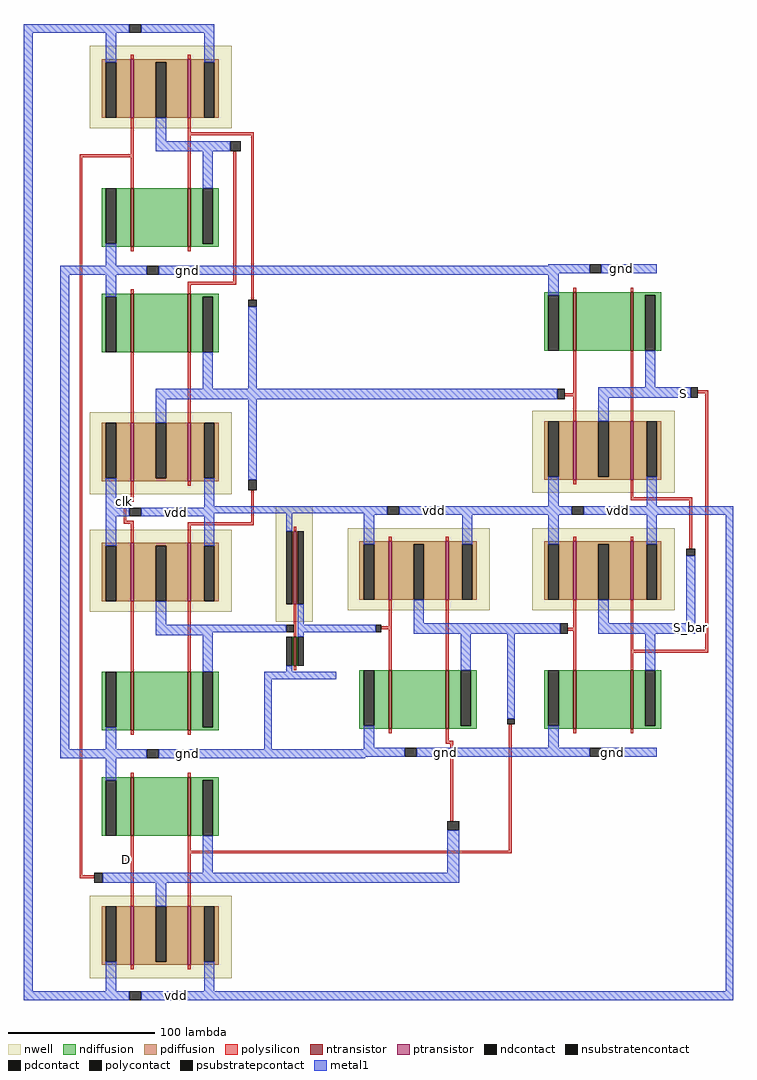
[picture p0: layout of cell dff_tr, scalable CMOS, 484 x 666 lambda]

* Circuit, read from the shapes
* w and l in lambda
.subckt dff_tr D S S_bar clk gnd vdd
M1 n1 D gnd gnd nfet w=40 l=2
M2 n2 clk gnd gnd nfet w=40 l=2
M3 n3 clk gnd gnd nfet w=40 l=2
M4 n4 n5 gnd gnd nfet w=40 l=2
M5 n5 n6 n1 gnd nfet w=40 l=2
M6 n7 n8 n2 gnd nfet w=40 l=2
M7 n8 n9 n3 gnd nfet w=40 l=2
M8 n9 n8 n4 gnd nfet w=40 l=2
M9 n10 n7 gnd gnd nfet w=20 l=2
M10 n11 n10 gnd gnd nfet w=40 l=2
M11 n6 n5 n11 gnd nfet w=40 l=2
M12 n12 n6 gnd gnd nfet w=40 l=2
M13 n13 n8 gnd gnd nfet w=40 l=2
M14 S_bar S n12 gnd nfet w=40 l=2
M15 S S_bar n13 gnd nfet w=40 l=2
M16 n5 D vdd n14 pfet w=40 l=2
M17 n7 clk vdd n15 pfet w=40 l=2
M18 n8 clk vdd n16 pfet w=40 l=2
M19 n9 n5 vdd n17 pfet w=40 l=2
M20 vdd n6 n5 n14 pfet w=40 l=2
M21 vdd n8 n7 n15 pfet w=40 l=2
M22 vdd n9 n8 n16 pfet w=40 l=2
M23 vdd n8 n9 n17 pfet w=40 l=2
M24 n10 n7 vdd n18 pfet w=50 l=2
M25 n6 n10 vdd n19 pfet w=40 l=2
M26 vdd n5 n6 n19 pfet w=40 l=2
M27 S_bar n6 vdd n20 pfet w=40 l=2
M28 S n8 vdd n21 pfet w=40 l=2
M29 vdd S S_bar n20 pfet w=40 l=2
M30 vdd S_bar S n21 pfet w=40 l=2
.ends

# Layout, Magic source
magic
tech scmos
<< nwell >>
rect 0 -150 97 -94
rect 302 -149 399 -93
rect 0 -230 97 -174
rect 176 -229 273 -173
rect 302 -229 399 -173
rect 0 -480 97 -424
<< ntransistor >>
rect 28 -53 30 -13
rect 67 -53 69 -13
rect 330 -52 332 -12
rect 369 -52 371 -12
rect 28 -311 30 -271
rect 67 -311 69 -271
rect 204 -310 206 -270
rect 243 -310 245 -270
rect 28 -383 30 -343
rect 67 -383 69 -343
rect 330 -310 332 -270
rect 369 -310 371 -270
<< ptransistor >>
rect 28 -141 30 -101
rect 67 -141 69 -101
rect 330 -140 332 -100
rect 369 -140 371 -100
rect 28 -223 30 -183
rect 67 -223 69 -183
rect 204 -222 206 -182
rect 243 -222 245 -182
rect 330 -222 332 -182
rect 369 -222 371 -182
rect 28 -471 30 -431
rect 67 -471 69 -431
<< ndiffusion >>
rect 8 -15 28 -13
rect 8 -53 11 -15
rect 18 -53 28 -15
rect 30 -53 67 -13
rect 69 -15 88 -13
rect 69 -53 77 -15
rect 84 -53 88 -15
rect 310 -14 330 -12
rect 310 -52 313 -14
rect 320 -52 330 -14
rect 332 -52 369 -12
rect 371 -14 390 -12
rect 371 -52 379 -14
rect 386 -52 390 -14
rect 8 -309 11 -271
rect 18 -309 28 -271
rect 8 -311 28 -309
rect 30 -311 67 -271
rect 69 -309 77 -271
rect 84 -309 88 -271
rect 69 -311 88 -309
rect 184 -308 187 -270
rect 194 -308 204 -270
rect 184 -310 204 -308
rect 206 -310 243 -270
rect 245 -308 253 -270
rect 260 -308 264 -270
rect 245 -310 264 -308
rect 8 -345 28 -343
rect 8 -383 11 -345
rect 18 -383 28 -345
rect 30 -383 67 -343
rect 69 -345 88 -343
rect 69 -383 77 -345
rect 84 -383 88 -345
rect 310 -308 313 -270
rect 320 -308 330 -270
rect 310 -310 330 -308
rect 332 -310 369 -270
rect 371 -308 379 -270
rect 386 -308 390 -270
rect 371 -310 390 -308
<< pdiffusion >>
rect 8 -139 11 -101
rect 18 -139 28 -101
rect 8 -141 28 -139
rect 30 -139 45 -101
rect 52 -139 67 -101
rect 30 -141 67 -139
rect 69 -139 78 -101
rect 85 -139 88 -101
rect 69 -141 88 -139
rect 310 -138 313 -100
rect 320 -138 330 -100
rect 310 -140 330 -138
rect 332 -138 347 -100
rect 354 -138 369 -100
rect 332 -140 369 -138
rect 371 -138 380 -100
rect 387 -138 390 -100
rect 371 -140 390 -138
rect 8 -185 28 -183
rect 8 -223 11 -185
rect 18 -223 28 -185
rect 30 -185 67 -183
rect 30 -223 45 -185
rect 52 -223 67 -185
rect 69 -185 88 -183
rect 69 -223 78 -185
rect 85 -223 88 -185
rect 184 -184 204 -182
rect 184 -222 187 -184
rect 194 -222 204 -184
rect 206 -184 243 -182
rect 206 -222 221 -184
rect 228 -222 243 -184
rect 245 -184 264 -182
rect 245 -222 254 -184
rect 261 -222 264 -184
rect 310 -184 330 -182
rect 310 -222 313 -184
rect 320 -222 330 -184
rect 332 -184 369 -182
rect 332 -222 347 -184
rect 354 -222 369 -184
rect 371 -184 390 -182
rect 371 -222 380 -184
rect 387 -222 390 -184
rect 8 -469 11 -431
rect 18 -469 28 -431
rect 8 -471 28 -469
rect 30 -469 45 -431
rect 52 -469 67 -431
rect 30 -471 67 -469
rect 69 -469 78 -431
rect 85 -469 88 -431
rect 69 -471 88 -469
<< ndcontact >>
rect 11 -53 18 -15
rect 77 -53 84 -15
rect 313 -52 320 -14
rect 379 -52 386 -14
rect 11 -309 18 -271
rect 77 -309 84 -271
rect 187 -308 194 -270
rect 253 -308 260 -270
rect 11 -383 18 -345
rect 77 -383 84 -345
rect 313 -308 320 -270
rect 379 -308 386 -270
<< pdcontact >>
rect 11 -139 18 -101
rect 45 -139 52 -101
rect 78 -139 85 -101
rect 313 -138 320 -100
rect 347 -138 354 -100
rect 380 -138 387 -100
rect 11 -223 18 -185
rect 45 -223 52 -185
rect 78 -223 85 -185
rect 187 -222 194 -184
rect 221 -222 228 -184
rect 254 -222 261 -184
rect 313 -222 320 -184
rect 347 -222 354 -184
rect 380 -222 387 -184
rect 11 -469 18 -431
rect 45 -469 52 -431
rect 78 -469 85 -431
<< psubstratepcontact >>
rect 39 0 47 6
rect 341 1 349 7
rect 39 -330 47 -324
rect 215 -329 223 -323
rect 341 -329 349 -323
<< nsubstratencontact >>
rect 27 -165 35 -159
rect 203 -164 211 -158
rect 329 -164 337 -158
rect 27 -495 35 -489
<< polysilicon >>
rect 69 95 112 97
rect -7 80 28 82
rect -7 -410 -5 80
rect 98 -5 100 84
rect 67 -7 100 -5
rect 28 -13 30 -10
rect 67 -13 69 -7
rect 110 -17 112 95
rect 330 -12 332 -9
rect 369 -12 371 -9
rect 28 -101 30 -53
rect 67 -101 69 -53
rect 330 -81 332 -52
rect 324 -83 332 -81
rect 330 -100 332 -83
rect 369 -100 371 -52
rect 415 -81 422 -79
rect 28 -153 30 -141
rect 67 -144 69 -141
rect 330 -143 332 -140
rect 23 -155 30 -153
rect 23 -168 25 -155
rect 23 -170 30 -168
rect 110 -169 112 -147
rect 369 -152 371 -140
rect 369 -154 411 -152
rect 28 -183 30 -170
rect 67 -171 112 -169
rect 67 -183 69 -171
rect 204 -182 206 -179
rect 243 -182 245 -179
rect 330 -182 332 -179
rect 369 -182 371 -179
rect 409 -187 411 -154
rect 28 -271 30 -223
rect 67 -271 69 -223
rect 204 -240 206 -222
rect 199 -242 206 -240
rect 204 -270 206 -242
rect 243 -270 245 -222
rect 330 -241 332 -222
rect 326 -243 332 -241
rect 330 -270 332 -243
rect 369 -256 371 -222
rect 420 -256 422 -81
rect 369 -258 422 -256
rect 369 -270 371 -258
rect 28 -314 30 -311
rect 67 -314 69 -311
rect 204 -313 206 -310
rect 243 -318 245 -310
rect 243 -320 248 -318
rect 28 -343 30 -340
rect 67 -343 69 -340
rect 246 -373 248 -320
rect 28 -398 30 -383
rect 24 -400 30 -398
rect -7 -412 3 -410
rect 28 -431 30 -400
rect 67 -393 69 -383
rect 286 -393 288 -307
rect 330 -313 332 -310
rect 369 -313 371 -310
rect 67 -395 288 -393
rect 67 -431 69 -395
rect 28 -474 30 -471
rect 67 -474 69 -471
<< polycontact >>
rect 96 84 103 91
rect 108 -22 114 -17
rect 319 -85 324 -78
rect 410 -84 415 -77
rect 108 -147 114 -140
rect 407 -192 413 -187
rect 195 -244 199 -239
rect 321 -245 326 -238
rect 285 -307 290 -303
rect 244 -379 252 -373
rect 3 -415 9 -408
<< metal1 >>
rect -45 165 11 171
rect -45 -489 -39 165
rect 83 84 96 91
rect 313 6 341 7
rect -20 0 39 6
rect 47 1 341 6
rect 349 1 387 7
rect 47 0 320 1
rect -20 -324 -14 0
rect 11 -15 18 0
rect 313 -14 320 0
rect 77 -78 84 -53
rect 108 -78 114 -22
rect 379 -77 386 -52
rect 45 -85 319 -78
rect 347 -84 410 -77
rect 45 -101 52 -85
rect 11 -159 18 -139
rect 78 -158 85 -139
rect 108 -140 114 -85
rect 347 -100 354 -84
rect 313 -158 320 -138
rect 380 -158 387 -138
rect 78 -159 127 -158
rect 11 -165 27 -159
rect 35 -163 127 -159
rect 152 -163 203 -158
rect 35 -165 85 -163
rect 11 -185 18 -165
rect 78 -185 85 -165
rect 187 -164 203 -163
rect 211 -164 329 -158
rect 337 -164 439 -158
rect 187 -184 194 -164
rect 254 -184 261 -164
rect 313 -184 320 -164
rect 380 -184 387 -164
rect 45 -239 52 -223
rect 221 -238 228 -222
rect 347 -238 354 -222
rect 407 -238 413 -192
rect 45 -244 120 -239
rect 168 -244 195 -239
rect 45 -246 84 -244
rect 221 -245 321 -238
rect 347 -245 413 -238
rect 77 -271 84 -246
rect 253 -270 260 -245
rect 11 -324 18 -309
rect 119 -324 124 -276
rect 285 -303 290 -245
rect 379 -270 386 -245
rect 187 -323 194 -308
rect 313 -323 320 -308
rect 187 -324 215 -323
rect -20 -330 39 -324
rect 47 -329 215 -324
rect 223 -329 341 -323
rect 349 -329 387 -323
rect 47 -330 188 -329
rect 11 -345 18 -330
rect 77 -408 84 -383
rect 244 -408 252 -379
rect 9 -415 252 -408
rect 45 -431 52 -415
rect 11 -489 18 -469
rect 78 -489 85 -469
rect 434 -489 439 -164
rect -45 -495 27 -489
rect 35 -495 439 -489
use nand_tr  nand_tr_0
transform 1 0 0 0 1 100
box 0 -100 97 71
use first  first_0
transform 1 0 41 0 1 -233
box 78 -43 127 75
<< labels >>
rlabel metal1 67 3 67 3 5 gnd
rlabel metal1 59 -162 59 -162 5 vdd
rlabel metal1 59 -492 59 -492 1 vdd
rlabel metal1 67 -327 67 -327 5 gnd
rlabel metal1 243 -326 243 -326 1 gnd
rlabel metal1 235 -161 235 -161 5 vdd
rlabel polysilicon 24 -155 24 -155 1 clk
rlabel polysilicon 25 -399 25 -399 1 D
rlabel metal1 361 -161 361 -161 1 vdd
rlabel metal1 410 -241 410 -241 7 S_bar
rlabel metal1 357 -326 357 -326 1 gnd
rlabel metal1 405 -81 405 -81 1 S
rlabel metal1 363 4 363 4 1 gnd
<< end >>

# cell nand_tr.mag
magic
tech scmos
<< nwell >>
rect 0 0 97 56
<< ntransistor >>
rect 28 -81 30 -41
rect 67 -81 69 -41
<< ptransistor >>
rect 28 7 30 47
rect 67 7 69 47
<< ndiffusion >>
rect 8 -79 11 -41
rect 18 -79 28 -41
rect 8 -81 28 -79
rect 30 -81 67 -41
rect 69 -79 77 -41
rect 84 -79 88 -41
rect 69 -81 88 -79
<< pdiffusion >>
rect 8 45 28 47
rect 8 7 11 45
rect 18 7 28 45
rect 30 45 67 47
rect 30 7 45 45
rect 52 7 67 45
rect 69 45 88 47
rect 69 7 78 45
rect 85 7 88 45
<< ndcontact >>
rect 11 -79 18 -41
rect 77 -79 84 -41
<< pdcontact >>
rect 11 7 18 45
rect 45 7 52 45
rect 78 7 85 45
<< psubstratepcontact >>
rect 39 -100 47 -94
<< nsubstratencontact >>
rect 27 65 35 71
<< polysilicon >>
rect 28 47 30 50
rect 67 47 69 50
rect 28 -41 30 7
rect 67 -41 69 7
rect 28 -84 30 -81
rect 67 -84 69 -81
<< metal1 >>
rect 11 65 27 71
rect 35 65 85 71
rect 11 45 18 65
rect 78 45 85 65
rect 45 -9 52 7
rect 45 -16 84 -9
rect 77 -41 84 -16
rect 11 -94 18 -79
rect 11 -100 39 -94
rect 47 -100 85 -94
<< labels >>
rlabel metal1 67 -97 67 -97 1 gnd
rlabel metal1 59 68 59 68 5 vdd
<< end >>

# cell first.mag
magic
tech scmos
<< nwell >>
rect 86 -4 111 75
<< ntransistor >>
rect 98 -34 100 -14
<< ptransistor >>
rect 98 8 100 58
<< ndiffusion >>
rect 97 -34 98 -14
rect 100 -34 101 -14
<< pdiffusion >>
rect 97 8 98 58
rect 100 8 101 58
<< ndcontact >>
rect 93 -34 97 -14
rect 101 -34 105 -14
<< pdcontact >>
rect 93 8 97 58
rect 101 8 105 58
<< polysilicon >>
rect 98 58 100 61
rect 98 -14 100 8
rect 98 -37 100 -34
<< polycontact >>
rect 93 -11 98 -6
<< metal1 >>
rect 86 70 111 75
rect 93 58 97 70
rect 101 -6 105 8
rect 79 -11 93 -6
rect 101 -11 127 -6
rect 101 -14 105 -11
rect 93 -38 97 -34
rect 78 -43 127 -38
<< labels >>
rlabel metal1 96 -42 96 -42 1 gnd
rlabel metal1 95 72 95 72 5 vdd
<< end >>
